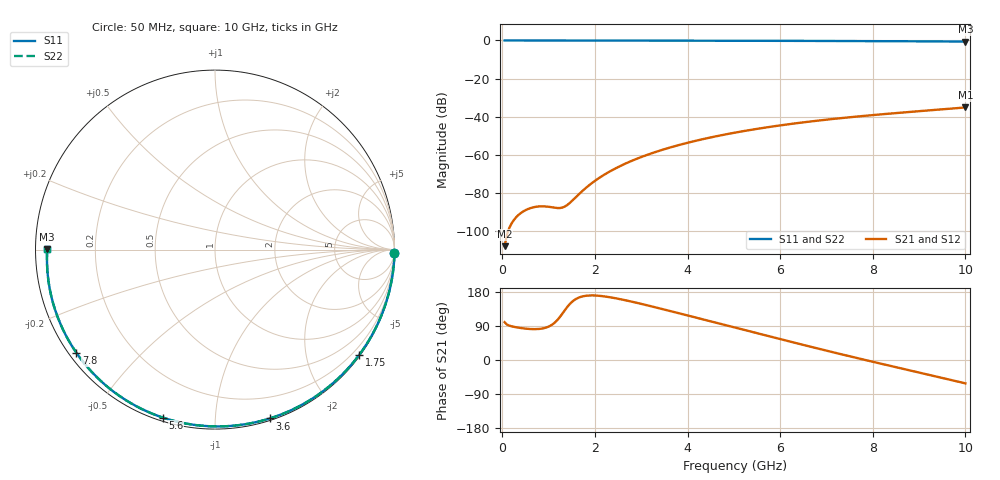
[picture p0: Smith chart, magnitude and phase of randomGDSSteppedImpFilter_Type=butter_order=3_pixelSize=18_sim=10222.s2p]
! freq	dB(S11)	phase(S11)	dB(S12)	phase(S12)
!  dB(S21)	phase(S21)	dB(S22)	phase(S22)
!S-par simulation data
#  GHz  S  DB  R 50
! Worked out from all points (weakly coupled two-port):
!   200 points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, 50 MHz to 10 GHz, reference 50 ohm
!   highest |S21| = -35.10 dB at 10 GHz (marker M1); lowest = -107.8 dB at 50 MHz (marker M2)
!   lowest |S11| = -0.6 dB at 10 GHz (marker M3), VSWR 29.58, Z = 1.69 + j0.063 ohm
!   |S11| at or under -10 dB: nowhere
!   |S22| runs from -0.6 to 0.0 dB; largest |S21 - S12| = 0
!   S11 on the Smith chart (normalised r, x): 50 MHz: open; 1.75 GHz: 0.03, -3.06; 3.6 GHz: 0.02, -1.37; 5.6 GHz: 0.02, -0.74; 7.8 GHz: 0.02, -0.33; 10 GHz: 0.03, +0.00
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0.05  -0.00 -1.1  -107.76 99.9  -107.76 99.9  -0.00 -1.1
0.4  -0.01 -8.4  -90.42 84.3  -90.42 84.3  -0.01 -8.4
0.8  -0.02 -16.8  -86.93 82.0  -86.93 82.0  -0.02 -16.8
1.2  -0.03 -25.0  -87.81 107.0  -87.81 107.0  -0.03 -25.0
1.65  -0.04 -34.2  -80.65 164.6  -80.65 164.6  -0.04 -34.2
1.7  -0.04 -35.2  -79.51 166.7  -79.51 166.7  -0.04 -35.2
1.75  -0.05 -36.2  -78.41 168.3  -78.41 168.3  -0.05 -36.2
2.05  -0.05 -42.2  -72.70 169.8  -72.70 169.8  -0.05 -42.3
2.25  -0.06 -46.2  -69.62 167.0  -69.62 167.0  -0.06 -46.2
2.45  -0.06 -50.2  -66.95 162.9  -66.95 162.9  -0.06 -50.2
2.9  -0.08 -58.9  -62.01 151.0  -62.01 151.0  -0.08 -58.9
3.4  -0.09 -68.3  -57.71 136.2  -57.71 136.2  -0.09 -68.4
3.6  -0.10 -72.1  -56.24 130.0  -56.24 130.0  -0.10 -72.1
4.3  -0.12 -84.8  -51.86 108.1  -51.86 108.1  -0.12 -84.8
5.05  -0.15 -97.9  -48.17 84.6  -48.17 84.6  -0.15 -97.9
5.6  -0.18 -107.3  -45.93 67.4  -45.93 67.4  -0.18 -107.3
6.15  -0.21 -116.5  -44.00 50.5  -44.00 50.5  -0.21 -116.5
6.7  -0.24 -125.5  -42.32 33.7  -42.32 33.7  -0.24 -125.5
7.8  -0.33 -143.3  -39.54 1.1  -39.54 1.1  -0.33 -143.3
8.35  -0.38 -152.2  -38.35 -14.7  -38.35 -14.7  -0.38 -152.2
9.2  -0.48 -166.3  -36.65 -38.7  -36.65 -38.7  -0.48 -166.3
10  -0.59 179.9  -35.10 -61.7  -35.10 -61.7  -0.59 179.8
